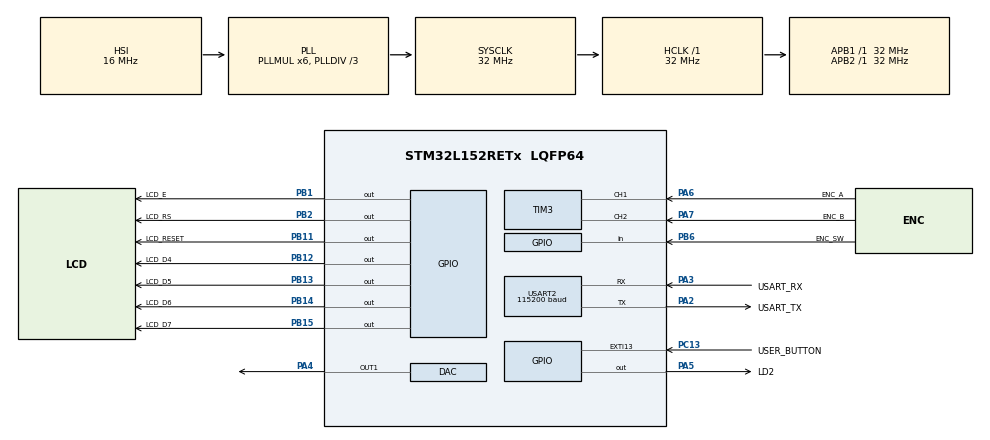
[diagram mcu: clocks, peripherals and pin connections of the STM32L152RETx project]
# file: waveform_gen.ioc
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DAC.DAC_Trigger=DAC_TRIGGER_T9_TRGO
Dma.DAC_CH1.0.Direction=DMA_MEMORY_TO_PERIPH
Dma.DAC_CH1.0.Instance=DMA1_Channel2
Dma.DAC_CH1.0.MemDataAlignment=DMA_MDATAALIGN_HALFWORD
Dma.DAC_CH1.0.MemInc=DMA_MINC_ENABLE
Dma.DAC_CH1.0.Mode=DMA_CIRCULAR
Dma.DAC_CH1.0.PeriphDataAlignment=DMA_PDATAALIGN_HALFWORD
Dma.DAC_CH1.0.PeriphInc=DMA_PINC_DISABLE
Dma.DAC_CH1.0.Priority=DMA_PRIORITY_VERY_HIGH
Dma.Request0=DAC_CH1
Mcu.Family=STM32L1
Mcu.Name=STM32L152RETx
Mcu.Package=LQFP64
NVIC.DMA1_Channel2_IRQn=true\:0\:0\:false\:false\:true\:false\:true\:true
NVIC.PriorityGroup=NVIC_PRIORITYGROUP_1
NVIC.TIM2_IRQn=true\:0\:3\:true\:false\:true\:true\:true\:true
NVIC.TIM3_IRQn=true\:1\:3\:true\:false\:true\:true\:true\:true
NVIC.TIM6_IRQn=true\:0\:4\:false\:false\:true\:true\:true\:true
NVIC.USART2_IRQn=true\:0\:2\:false\:false\:true\:true\:true\:true
PA13.GPIO_Label=TMS
PA13.Mode=Serial_Wire
PA13.Signal=SYS_JTMS-SWDIO
PA14.GPIO_Label=TCK
PA14.Mode=Serial_Wire
PA14.Signal=SYS_JTCK-SWCLK
PA2.GPIO_Label=USART_TX
PA2.Mode=Asynchronous
PA2.Signal=USART2_TX
PA3.GPIO_Label=USART_RX
PA3.Mode=Asynchronous
PA3.Signal=USART2_RX
PA4.Signal=COMP_DAC1_group
PA5.GPIO_Label=LD2
PA5.Signal=GPIO_Output
PA6.GPIO_Label=ENC_A
PA6.Signal=S_TIM3_CH1
PA7.GPIO_Label=ENC_B
PA7.Signal=S_TIM3_CH2
PB1.GPIO_Label=LCD_E
PB1.Signal=GPIO_Output
PB11.GPIO_Label=LCD_RESET
PB11.Signal=GPIO_Output
PB12.GPIO_Label=LCD_D4
PB12.Signal=GPIO_Output
PB13.GPIO_Label=LCD_D5
PB13.Signal=GPIO_Output
PB14.GPIO_Label=LCD_D6
PB14.Signal=GPIO_Output
PB15.GPIO_Label=LCD_D7
PB15.Signal=GPIO_Output
PB2.GPIO_Label=LCD_RS
PB2.Signal=GPIO_Output
PB3.GPIO_Label=SWO
PB3.Signal=SYS_JTDO-TRACESWO
PB6.GPIO_Label=ENC_SW
PB6.GPIO_PuPd=GPIO_NOPULL
PB6.Signal=GPIO_Input
PC13-WKUP2.GPIO_Label=USER_BUTTON
PC13-WKUP2.Signal=GPXTI13
PC14-OSC32_IN.Mode=LSE-External-Oscillator
PC14-OSC32_IN.Signal=RCC_OSC32_IN
PC15-OSC32_OUT.Mode=LSE-External-Oscillator
PC15-OSC32_OUT.Signal=RCC_OSC32_OUT
PH0-OSC_IN.Mode=HSE-External-Clock-Source
PH0-OSC_IN.Signal=RCC_OSC_IN
PH1-OSC_OUT.Signal=RCC_OSC_OUT
ProjectManager.HeapSize=0x200
ProjectManager.StackSize=0x400
ProjectManager.TargetToolchain=STM32CubeIDE
RCC.48MHZClocksFreq_Value=48000000
RCC.AHBFreq_Value=32000000
RCC.APB1Freq_Value=32000000
RCC.APB1TimFreq_Value=32000000
RCC.APB2Freq_Value=32000000
RCC.APB2TimFreq_Value=32000000
RCC.HCLKFreq_Value=32000000
RCC.HSE_VALUE=8000000
RCC.HSI_VALUE=16000000
RCC.MSI_VALUE=2097000
RCC.PLLDIV=RCC_PLL_DIV3
RCC.PLLMUL=RCC_PLL_MUL6
RCC.RTCClockSelectionVirtual=RCC_RTCCLKSOURCE_LSE
RCC.SYSCLKFreq_VALUE=32000000
RCC.SYSCLKSource=RCC_SYSCLKSOURCE_PLLCLK
RCC.USBOutput=48000000
RCC.VCOOutputFreq_Value=96000000
SH.COMP_DAC1_group.0=DAC_OUT1,DAC_OUT1
SH.S_TIM3_CH1.0=TIM3_CH1,Encoder_Interface
SH.S_TIM3_CH2.0=TIM3_CH2,Encoder_Interface
TIM2.Channel-Output\ Compare1\ No\ Output=TIM_CHANNEL_1
TIM2.Channel-Output\ Compare4\ No\ Output=TIM_CHANNEL_4
TIM2.Prescaler=31
TIM3.EncoderMode=TIM_ENCODERMODE_TI12
TIM3.IC1Filter=15
TIM3.IC2Filter=15
TIM6.Period=10000
TIM6.Prescaler=319
TIM9.Period=31
TIM9.TIM_MasterOutputTrigger=TIM_TRGO_UPDATE
USART2.BaudRate=115200
USART2.OverSampling=UART_OVERSAMPLING_16
USART2.VirtualMode=VM_ASYNC
VP_TIM2_VS_no_output1.Mode=Output Compare1 No Output
VP_TIM2_VS_no_output4.Mode=Output Compare4 No Output
VP_TIM6_VS_ClockSourceINT.Mode=Enable_Timer
VP_TIM7_VS_ClockSourceINT.Mode=Enable_Timer
VP_TIM9_VS_ClockSourceINT.Mode=Internal
board=NUCLEO-L152RE

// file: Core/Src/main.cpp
/* USER CODE BEGIN Header */
/**
  ******************************************************************************
  * @file           : main.c
  * @brief          : Main program body
  ******************************************************************************
  * @attention
  *
  * Copyright (c) 2022 STMicroelectronics.
  * All rights reserved.
  *
  * This software is licensed under terms that can be found in the LICENSE file
  * in the root directory of this software component.
  * If no LICENSE file comes with this software, it is provided AS-IS.
  *
  ******************************************************************************
  */
/* USER CODE END Header */
#include "main.h"
#include "dac.h"
#include "dma.h"
#include "tim.h"
#include "usart.h"
#include "gpio.h"

/* USER CODE BEGIN Includes */
#include "lcd/st7920.h"
#include "lcd/menu.h"
#include "uart/uart.h"
#include "wave/waveform.h"
#include "device.h"
#include <string>
/* USER CODE END Includes */

/* USER CODE BEGIN PV */
device_state_t device_state = device_state_t::IDLE;
extern wave waveform;
/* USER CODE END PV */

void SystemClock_Config(void);

int main(void)
{

  /* MCU Configuration--------------------------------------------------------*/

  /* Reset of all peripherals, Initializes the Flash interface and the Systick. */
  HAL_Init();

  /* Configure the system clock */
  SystemClock_Config();

  /* Initialize all configured peripherals */
  MX_GPIO_Init();
  MX_USART2_UART_Init();
  MX_DMA_Init();
  MX_DAC_Init();
  MX_TIM2_Init();
  MX_TIM3_Init();
  MX_TIM7_Init();

  MX_TIM9_Init();
  MX_TIM6_Init();
  /* USER CODE BEGIN 2 */

  HAL_TIM_Base_Start(&htim7);
  HAL_TIM_Base_Start_IT(&htim2);
  display.init();
  display.set_mode(st7920_disp_type::TEXT);
  menu.init();
  HAL_TIM_Encoder_Start(&htim3, TIM_CHANNEL_ALL);
  HAL_TIM_Base_Start_IT(&htim6);
  uart.init();

  /* USER CODE END 2 */

  /* Infinite loop */
  /* USER CODE BEGIN WHILE */
  while (1)
  {
	HAL_Delay(1000);

	uart.send("Ping!\n");

	if(device_state == device_state_t::RUN && htim9.State != HAL_TIM_STATE_BUSY)
	{
		htim9.Instance->PSC = waveform.dac_divider - 1;
		htim9.Instance->CNT = 0;
		HAL_TIM_Base_Start(&htim9);
		HAL_DAC_Start_DMA(&hdac, DAC_CHANNEL_1, (uint32_t *)&(waveform.samples[0]), waveform.sample_no, DAC_ALIGN_12B_R);
	}
	else if(device_state != device_state_t::RUN)
	{
		HAL_TIM_Base_Stop(&htim9);
		HAL_DAC_Stop_DMA(&hdac, DAC_CHANNEL_1);
	}

    /* USER CODE END WHILE */

  }
}

void SystemClock_Config(void)
{
  RCC_OscInitTypeDef RCC_OscInitStruct = {0};
  RCC_ClkInitTypeDef RCC_ClkInitStruct = {0};

  /** Configure the main internal regulator output voltage
  */
  __HAL_PWR_VOLTAGESCALING_CONFIG(PWR_REGULATOR_VOLTAGE_SCALE1);

  /** Initializes the RCC Oscillators according to the specified parameters
  * in the RCC_OscInitTypeDef structure.
  */
  RCC_OscInitStruct.OscillatorType = RCC_OSCILLATORTYPE_HSI;
  RCC_OscInitStruct.HSIState = RCC_HSI_ON;
  RCC_OscInitStruct.HSICalibrationValue = RCC_HSICALIBRATION_DEFAULT;
  RCC_OscInitStruct.PLL.PLLState = RCC_PLL_ON;
  RCC_OscInitStruct.PLL.PLLSource = RCC_PLLSOURCE_HSI;
  RCC_OscInitStruct.PLL.PLLMUL = RCC_PLL_MUL6;
  RCC_OscInitStruct.PLL.PLLDIV = RCC_PLL_DIV3;
  if (HAL_RCC_OscConfig(&RCC_OscInitStruct) != HAL_OK)
  {
    Error_Handler();
  }

  /** Initializes the CPU, AHB and APB buses clocks
  */
  RCC_ClkInitStruct.ClockType = RCC_CLOCKTYPE_HCLK|RCC_CLOCKTYPE_SYSCLK
                              |RCC_CLOCKTYPE_PCLK1|RCC_CLOCKTYPE_PCLK2;
  RCC_ClkInitStruct.SYSCLKSource = RCC_SYSCLKSOURCE_PLLCLK;
  RCC_ClkInitStruct.AHBCLKDivider = RCC_SYSCLK_DIV1;
  RCC_ClkInitStruct.APB1CLKDivider = RCC_HCLK_DIV1;
  RCC_ClkInitStruct.APB2CLKDivider = RCC_HCLK_DIV1;

  if (HAL_RCC_ClockConfig(&RCC_ClkInitStruct, FLASH_LATENCY_1) != HAL_OK)
  {
    Error_Handler();
  }
}

void Error_Handler(void)
{
  __disable_irq();
  while (1)
  {
  }
}
